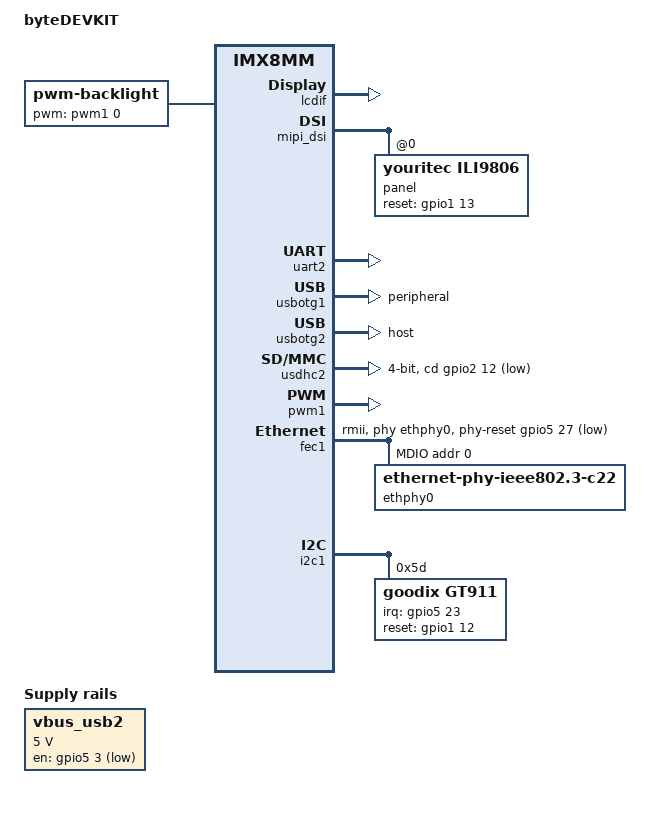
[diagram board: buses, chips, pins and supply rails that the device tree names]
// SPDX-License-Identifier: GPL-2.0+
/*
 * Copyright (C) 2021 bytes at work AG - https://www.bytesatwork.io
 *
 * Based on imx8mm-ddr4-evk.dts:
 * Copyright 2018 NXP
 *
 */

/dts-v1/;

#include "imx8mm-byteengine.dtsi"

/ {
	model = "byteDEVKIT";
	compatible = "batw,bytedevkit", "batw,byteengine-imx8mm", "fsl,imx8mm";

	chosen {
		bootargs = "console=ttymxc0,115200 earlycon=ec_imx6q,0x30890000,115200";
		stdout-path = &uart2;
	};

	aliases {
		mmc0 = &usdhc3;
		mmc1 = &usdhc2;
		/delete-property/ mmc2;
		serial0 = &uart2;
	};

	backlight {
		compatible = "pwm-backlight";
		pinctrl-names = "default";
		pinctrl-0 = <&pinctrl_backlight>;
		pwms = <&pwm1 0 5000000>;
		brightness-levels = <0 4 8 16 32 64 128 255>;
		default-brightness-level = <5>;
	};

	vbus_usb2: fixedregulator1 {
		compatible = "regulator-fixed";
		pinctrl-names = "default";
		pinctrl-0 = <&pinctrl_usb2>;
		regulator-name = "vbus_usb2";
		regulator-min-microvolt = <5000000>;
		regulator-max-microvolt = <5000000>;
		gpio = <&gpio5 3 GPIO_ACTIVE_HIGH>;
	};
};

&iomuxc {
	pinctrl_uart2: uart2grp {
		fsl,pins = <
			MX8MM_IOMUXC_UART2_RXD_UART2_DCE_RX	0x140	/* F15  UART2_RXD */
			MX8MM_IOMUXC_UART2_TXD_UART2_DCE_TX	0x140	/* E15  UART2_TXD */
		>;
	};

	pinctrl_usdhc2_gpio: usdhc2grpgpio {
		fsl,pins = <
			MX8MM_IOMUXC_SD2_CD_B_GPIO2_IO12	0x1c4
		>;
	};

	pinctrl_usdhc2: usdhc2grp {
		fsl,pins = <
			MX8MM_IOMUXC_SD2_CLK_USDHC2_CLK		0x194
			MX8MM_IOMUXC_SD2_CMD_USDHC2_CMD		0x1d4
			MX8MM_IOMUXC_SD2_DATA0_USDHC2_DATA0	0x1d4
			MX8MM_IOMUXC_SD2_DATA1_USDHC2_DATA1	0x1d4
			MX8MM_IOMUXC_SD2_DATA2_USDHC2_DATA2	0x1d4
			MX8MM_IOMUXC_SD2_DATA3_USDHC2_DATA3	0x1d4
		>;
	};

	pinctrl_backlight: backlight {
		fsl,pins = <
			MX8MM_IOMUXC_GPIO1_IO01_PWM1_OUT	0x116	/* Backlight PWM */
		>;
	};

	pinctrl_lcd: lcd {
		fsl,pins = <
			MX8MM_IOMUXC_GPIO1_IO13_GPIO1_IO13	0x19	/* DSI reset */
		>;
	};

	pinctrl_usb2: usb2 {
		fsl,pins = <
			MX8MM_IOMUXC_SPDIF_TX_GPIO5_IO3		0x19	/* SPDIF_TX  GPIO5_IO03  USB1.EN */
		>;
	};

	pinctrl_fec1: fec1grp {
		fsl,pins = <
			MX8MM_IOMUXC_ENET_MDC_ENET1_MDC			0x3	/* AC27  ENET_MDC */
			MX8MM_IOMUXC_ENET_MDIO_ENET1_MDIO		0x3	/* AB27  ENET_MDIO */
			MX8MM_IOMUXC_ENET_TD2_ENET1_TX_CLK		0x4000001f	/* AG25  ENET_TD2  RMII.REF_CLK */
			MX8MM_IOMUXC_ENET_RD0_ENET1_RGMII_RD0		0x91	/* AE27  ENET_RD0 */
			MX8MM_IOMUXC_ENET_RD1_ENET1_RGMII_RD1		0x91	/* AD27  ENET_RD1 */
			MX8MM_IOMUXC_ENET_TD0_ENET1_RGMII_TD0		0x1f	/* AG26  ENET_TD0 */
			MX8MM_IOMUXC_ENET_TD1_ENET1_RGMII_TD1		0x1f	/* AF26  ENET_TD1 */
			MX8MM_IOMUXC_ENET_RX_CTL_ENET1_RGMII_RX_CTL	0x91	/* AF27  ENET_RX_CTL CRS_DV */
			MX8MM_IOMUXC_ENET_TX_CTL_ENET1_RGMII_TX_CTL	0x1f	/* AF24  ENET_TX_CTL TX_EN */
			MX8MM_IOMUXC_UART3_TXD_GPIO5_IO27		0x6	/* D18   GPIO5_IO27  ETH_RESET~ */
		>;
	};

	pinctrl_i2c1: i2c1grp {
		fsl,pins = <
			MX8MM_IOMUXC_I2C1_SCL_I2C1_SCL			0x400001c3	/* E9  I2C1_SCL */
			MX8MM_IOMUXC_I2C1_SDA_I2C1_SDA			0x400001c3	/* F9  I2C1_SDA */
		>;
	};

	pinctrl_touch: touchgrp {
		fsl,pins = <
			MX8MM_IOMUXC_UART1_TXD_GPIO5_IO23		0x19	/* F13   UART1_TXD   GPIO5_IO23  TOUCH_INT */
			MX8MM_IOMUXC_GPIO1_IO12_GPIO1_IO12		0x6	/* AB10  GPIO1_IO12  GPIO1_IO12  TOUCH_RST */
		>;
	};
};

&lcdif {
	status = "okay";
};

&mipi_dsi {
	status = "okay";

	panel@0 {
		compatible = "youritec,ili9806";
		reg = <0>;
		pinctrl-names = "default";
		pinctrl-0 = <&pinctrl_lcd>;
		reset-gpios = <&gpio1 13 GPIO_ACTIVE_HIGH>;
		dsi-lanes = <2>;
		video-mode = <2>;       /* 0: burst mode
					 * 1: non-burst mode with sync event
					 * 2: non-burst mode with sync pulse
					 */
		panel-width-mm = <62>;  /* active area */
		panel-height-mm = <110>;
		status = "okay";
	};
};

&uart2 {
	pinctrl-names = "default";
	pinctrl-0 = <&pinctrl_uart2>;
	status = "okay";
};

&usbotg1 {
	dr_mode = "peripheral";
	status = "okay";
};

&usbotg2 {
	dr_mode = "host";
	status = "okay";
};

&usbphynop2 {
	vbus-regulator = <&vbus_usb2>;
};

&usdhc2 {
	pinctrl-names = "default";
	pinctrl-0 = <&pinctrl_usdhc2>, <&pinctrl_usdhc2_gpio>;
	bus-width = <4>;
	cd-gpios = <&gpio2 12 GPIO_ACTIVE_LOW>;
	status = "okay";
};

&pwm1 {
	status = "okay";
};

&fec1 {
	pinctrl-names = "default";
	pinctrl-0 = <&pinctrl_fec1>;
	phy-mode = "rmii";
	phy-handle = <&ethphy0>;
	fsl,magic-packet;
	phy-reset-gpios = <&gpio5 27 GPIO_ACTIVE_LOW>;
	status = "okay";

	mdio {
		#address-cells = <1>;
		#size-cells = <0>;

		ethphy0: ethernet-phy@0 {
			compatible = "ethernet-phy-ieee802.3-c22";
			reg = <0>;
		};
	};
};

&i2c1 {
	pinctrl-names = "default";
	pinctrl-0 = <&pinctrl_i2c1>;
	status = "okay";

	gt911@5d {
		pinctrl-names = "default";
		pinctrl-0 = <&pinctrl_touch>;
		compatible = "goodix,gt911";
		reg = <0x5d>;
		interrupt-parent = <&gpio5>;
		interrupts = <23 0>;

		irq-gpios = <&gpio5 23 0>;
		reset-gpios = <&gpio1 12 0>;
	};
};
